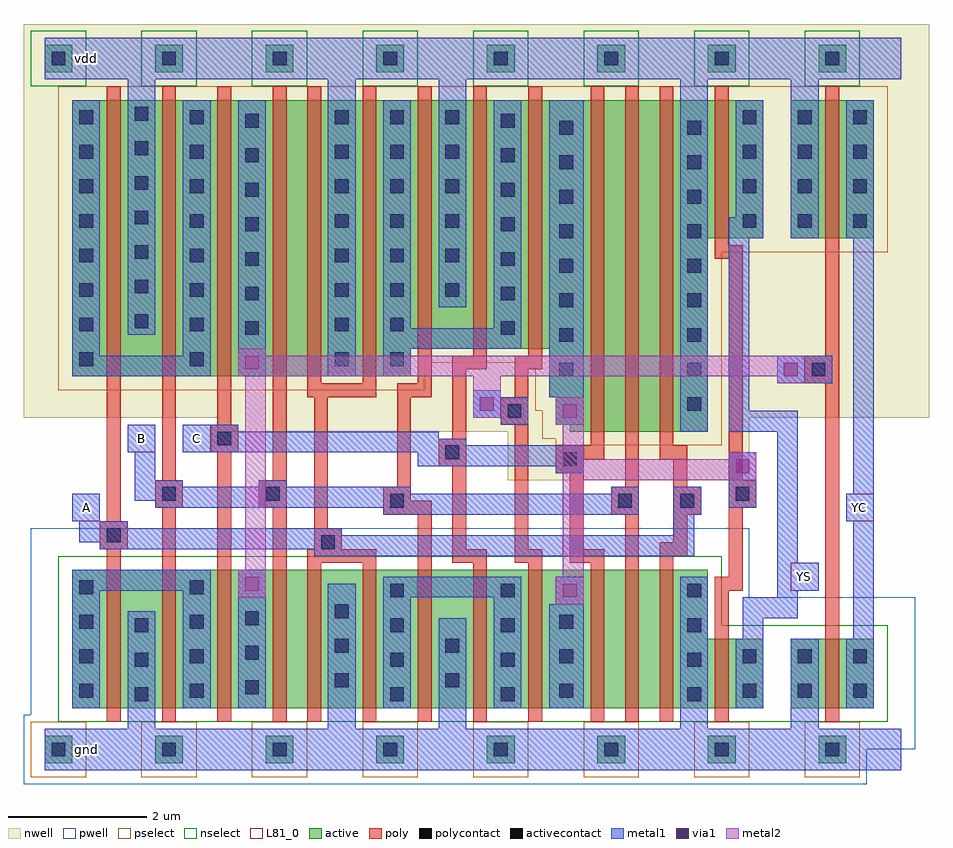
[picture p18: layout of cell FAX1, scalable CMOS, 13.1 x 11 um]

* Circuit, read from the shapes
.subckt FAX1 A B C YC YS gnd vdd
M1 gnd A n1 gnd nfet w=2u l=0.2u
M2 n1 B gnd gnd nfet w=2u l=0.2u
M3 n2 C n1 gnd nfet w=2u l=0.2u
M4 n3 B n2 gnd nfet w=2u l=0.2u
M5 gnd A n3 gnd nfet w=2u l=0.2u
M6 n4 A gnd gnd nfet w=2u l=0.2u
M7 gnd B n4 gnd nfet w=2u l=0.2u
M8 n4 C gnd gnd nfet w=2u l=0.2u
M9 n5 n2 n4 gnd nfet w=2u l=0.2u
M10 n6 C n5 gnd nfet w=2u l=0.2u
M11 n7 B n6 gnd nfet w=2u l=0.2u
M12 gnd A n7 gnd nfet w=2u l=0.2u
M13 YS n5 gnd gnd nfet w=1u l=0.2u
M14 YC n2 gnd gnd nfet w=1u l=0.2u
M15 vdd A n8 vdd pfet w=4u l=0.2u
M16 n8 B vdd vdd pfet w=4u l=0.2u
M17 n2 C n8 vdd pfet w=4u l=0.2u
M18 n9 B n2 vdd pfet w=4u l=0.2u
M19 vdd A n9 vdd pfet w=4u l=0.2u
M20 n10 A vdd vdd pfet w=4u l=0.2u
M21 vdd B n10 vdd pfet w=3.6u l=0.2u
M22 n10 C vdd vdd pfet w=3.6u l=0.2u
M23 n5 n2 n10 vdd pfet w=3.6u l=0.2u
M24 n11 C n5 vdd pfet w=4.8u l=0.2u
M25 n12 B n11 vdd pfet w=4.8u l=0.2u
M26 vdd A n12 vdd pfet w=4.8u l=0.2u
M27 YS n5 vdd vdd pfet w=2u l=0.2u
M28 YC n2 vdd vdd pfet w=2u l=0.2u
.ends

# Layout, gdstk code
import gdstk
lib = gdstk.Library(unit=1e-6, precision=1e-09)
def R(c, l, rs):  # rectangles x0, y0, x1, y1
    for r in rs: c.add(gdstk.rectangle(r[:2], r[2:], *l))
def A(c, l, x, y, w, h, nx, ny, dx, dy):  # array of equal rectangles
    R(c, l, [(x+i*dx, y+j*dy, x+i*dx+w, y+j*dy+h) for i in range(nx) for j in range(ny)])
pwell = (41, 0)
nwell = (42, 0)
active = (43, 0)
pselect = (44, 0)
nselect = (45, 0)
poly = (46, 0)
polycontact = (47, 0)
activecontact = (48, 0)
metal1 = (49, 0)
via1 = (50, 0)
metal2 = (51, 0)
L81_0 = (81, 0)

fax1 = lib.new_cell('FAX1')
R(fax1, pwell, [(-0.5,-0.5,11.7,0), (-0.5,0,12.4,0.5), (-0.4,0.5,12.4,2.2), (-0.4,2.2,10,3.2)])
R(fax1, nwell, [(6.5,3.9,10,4.6), (2.3,4.6,10,4.8), (-0.5,4.8,12.6,10.5)])
A(fax1, active, -0.2, -0.2, 0.4, 0.4, 8, 2, 1.6, 10)
R(fax1, active, [(0.2,0.6,10.2,1.6), (10.6,0.6,11.8,1.6), (0.2,1.6,9.4,2.6), (7.4,4.6,9.4,4.7), (7.2,4.7,9.4,5.1), (7.1,5.1,9.4,5.8), (0.2,5.4,5.1,5.8), (0.2,5.8,9.4,7.4), (0.2,7.4,10.2,9.4), (10.6,7.4,11.8,9.4)])
A(fax1, pselect, -0.4, -0.4, 0.8, 0.8, 8, 1, 1.6, 0)
R(fax1, pselect, [(7.2,4.4,9.6,4.5), (7,4.5,9.6,4.9), (6.9,4.9,9.6,5.6), (0,5.2,5.3,5.6), (0,5.6,9.6,7.2), (0,7.2,12,9.6)])
A(fax1, nselect, -0.4, 9.6, 0.8, 0.8, 8, 1, 1.6, 0)
R(fax1, nselect, [(0,0.4,12,1.8), (0,1.8,9.6,2.8)])
A(fax1, poly, 3.6, 5.3, 0.2, 4.3, 3, 1, 0.8, 0)
R(fax1, poly, [(0.7,0.4,0.9,2.9), (1.5,0.4,1.7,3.5), (2.3,0.4,2.5,4.3), (3.1,0.4,3.3,3.5), (3.6,0.4,3.8,2.7), (4.4,0.4,4.6,2.7), (5.2,0.4,5.4,3.4), (6,0.4,6.2,2.7), (6.8,0.4,7,2.7), (7.7,0.4,7.9,2.7), (8.2,0.4,8.4,3.4), (8.7,0.4,8.9,2.8), (9.5,0.4,9.7,2.3), (11.1,0.4,11.3,5.3), (9.5,2.3,9.9,2.5), (9.7,2.5,9.9,3.5), (3.6,2.7,4.6,2.9), (5.7,2.7,6.2,2.9), (6.6,2.7,7,2.9), (7.4,2.7,7.9,2.9), (8.7,2.8,9.1,3), (0.6,2.9,1,3.3), (3.7,2.9,4.1,3.2), (5.7,2.9,5.9,4.1), (6.6,2.9,6.8,4.7), (7.4,2.9,7.6,4), (8.9,3,9.1,3.4), (3.7,3.2,3.9,5.1), (0.7,3.3,0.9,9.6), (4.7,3.4,5.4,3.6), (8,3.4,8.4,3.8), (8.9,3.4,9.3,3.8), (1.4,3.5,1.8,3.9), (2.9,3.5,3.3,3.9), (9.7,3.5,10.1,3.9), (4.7,3.6,5.1,3.8), (4.9,3.8,5.1,5.1), (8.2,3.8,8.4,9.6), (8.9,3.8,9.1,4.2), (1.5,3.9,1.7,9.6), (3.1,3.9,3.3,9.6), (9.7,3.9,9.9,7.1), (7.2,4,7.6,4.2), (5.5,4.1,5.9,4.5), (7.2,4.2,7.9,4.4), (8.7,4.2,9.1,4.4), (2.2,4.3,2.6,4.7), (7.7,4.4,7.9,9.6), (8.7,4.4,8.9,9.6), (5.7,4.5,5.9,5.5), (2.3,4.7,2.5,9.6), (6.4,4.7,6.8,5.1), (3.6,5.1,4.6,5.3), (4.9,5.1,5.4,5.3), (6.6,5.1,6.8,5.5), (10.8,5.3,11.3,5.7), (5.7,5.5,6.2,5.7), (6.6,5.5,7,5.7), (6,5.7,6.2,9.6), (6.8,5.7,7,9.6), (11.1,5.7,11.3,9.6), (9.5,7.1,9.9,7.3), (9.5,7.3,9.7,9.6)])
R(fax1, polycontact, [(3.8,2.9,4,3.1), (0.7,3,0.9,3.2), (4.8,3.5,5,3.7), (8.1,3.5,8.3,3.7), (9,3.5,9.2,3.7), (1.5,3.6,1.7,3.8), (3,3.6,3.2,3.8), (9.8,3.6,10,3.8), (7.3,4.1,7.5,4.3), (5.6,4.2,5.8,4.4), (2.3,4.4,2.5,4.6), (6.5,4.8,6.7,5), (10.9,5.4,11.1,5.6)])
A(fax1, activecontact, -0.1, -0.1, 0.2, 0.2, 8, 2, 1.6, 10)
A(fax1, activecontact, 1.1, 0.7, 0.2, 0.2, 1, 3, 0, 0.5)
A(fax1, activecontact, 4.8, 0.7, 0.2, 0.2, 1, 4, 0, 0.5)
A(fax1, activecontact, 6.4, 0.7, 0.2, 0.2, 1, 4, 0, 0.5)
A(fax1, activecontact, 9.1, 0.7, 0.2, 0.2, 1, 4, 0, 0.5)
A(fax1, activecontact, 0.3, 0.75, 0.2, 0.2, 1, 4, 0, 0.5)
A(fax1, activecontact, 1.9, 0.75, 0.2, 0.2, 1, 4, 0, 0.5)
A(fax1, activecontact, 7.25, 0.75, 0.2, 0.2, 1, 3, 0, 0.5)
A(fax1, activecontact, 9.9, 0.75, 0.2, 0.2, 3, 2, 0.8, 0.5)
A(fax1, activecontact, 2.7, 0.8, 0.2, 0.2, 1, 3, 0, 0.5)
A(fax1, activecontact, 4, 0.9, 0.2, 0.2, 1, 3, 0, 0.5)
A(fax1, activecontact, 9.1, 4.9, 0.2, 0.2, 1, 9, 0, 0.5)
A(fax1, activecontact, 7.25, 5.4, 0.2, 0.2, 1, 8, 0, 0.5)
A(fax1, activecontact, 0.3, 5.55, 0.2, 0.2, 1, 8, 0, 0.5)
A(fax1, activecontact, 1.9, 5.55, 0.2, 0.2, 1, 8, 0, 0.5)
A(fax1, activecontact, 2.7, 6, 0.2, 0.2, 1, 7, 0, 0.5)
A(fax1, activecontact, 6.4, 6, 0.2, 0.2, 1, 7, 0, 0.5)
A(fax1, activecontact, 1.1, 6.1, 0.2, 0.2, 1, 7, 0, 0.5)
A(fax1, activecontact, 4, 6.55, 0.2, 0.2, 3, 6, 0.8, 0.5)
A(fax1, activecontact, 9.9, 7.55, 0.2, 0.2, 3, 4, 0.8, 0.5)
R(fax1, activecontact, [(5.6,0.9,5.8,1.1), (5.6,1.4,5.8,1.6), (4,5.55,4.2,5.75), (4.8,5.55,5,5.75), (4,6.05,4.2,6.25), (4.8,6.05,5,6.25)])
R(fax1, metal1, [(-0.2,-0.3,12.2,0.3), (1,0.3,1.4,2), (3.9,0.3,4.3,2.4), (5.5,0.3,5.9,1.9), (9,0.3,9.4,2.5), (10.6,0.3,11,1.6), (0.2,0.6,0.6,2.3), (1.8,0.6,2.2,2.3), (2.6,0.6,3,2.6), (4.7,0.6,5.1,2.2), (6.3,0.6,6.7,2.2), (7.1,0.6,7.6,2.1), (9.8,0.6,10.2,1.6), (11.4,0.6,11.8,1.6), (9.9,1.6,10.2,1.9), (11.5,1.6,11.8,3.3), (9.9,1.9,10.7,2.2), (7.2,2.1,7.6,2.5), (4.7,2.2,6.7,2.5), (10.4,2.2,10.7,2.3), (0.2,2.3,2.2,2.6), (10.4,2.3,11,2.7), (10.4,2.7,10.7,4.6), (3.7,2.8,9.2,2.9), (0.6,2.9,9.2,3), (0.3,3,9.2,3.1), (0.3,3.1,4.1,3.2), (8.9,3.1,9.2,3.4), (0.3,3.2,1,3.3), (0.2,3.3,0.6,3.7), (11.4,3.3,11.8,3.7), (4.7,3.4,8.4,3.5), (8.9,3.4,9.3,3.8), (1.4,3.5,8.4,3.6), (9.7,3.5,10.1,4.3), (1.1,3.6,8.4,3.7), (1.1,3.7,5.1,3.8), (8,3.7,8.4,3.8), (11.5,3.7,11.8,7.4), (1.1,3.8,1.8,3.9), (2.9,3.8,3.3,3.9), (1.1,3.9,1.4,4.3), (7.2,4,7.6,4.1), (5.2,4.1,7.6,4.3), (1,4.3,1.4,4.7), (1.8,4.3,7.6,4.4), (1.8,4.4,5.9,4.5), (1.8,4.5,5.5,4.6), (1.8,4.6,2.6,4.7), (9,4.6,9.4,9.7), (9.7,4.6,10.7,4.9), (6.4,4.7,6.8,4.8), (7.2,4.7,7.6,5.1), (6,4.8,6.8,5.1), (9.7,4.9,10,7.4), (6,5.1,6.4,5.2), (7.1,5.1,7.6,9.4), (10.4,5.3,11.2,5.7), (0.2,5.4,2.2,5.7), (2.6,5.4,3,9.4), (3.9,5.4,4.3,9.7), (4.7,5.4,5.1,5.8), (0.2,5.7,0.6,9.4), (1.8,5.7,2.2,9.4), (4.7,5.8,6.7,6.1), (1,6,1.4,9.7), (4.7,6.1,5.1,9.4), (6.3,6.1,6.7,9.4), (5.5,6.4,5.9,9.7), (9.7,7.4,10.2,7.7), (10.6,7.4,11,9.7), (11.4,7.4,11.8,9.4), (9.8,7.7,10.2,9.4), (-0.2,9.7,12.2,10.3)])
R(fax1, via1, [(7.3,2.2,7.5,2.4), (2.7,2.3,2.9,2.5), (9.8,4,10,4.2), (7.3,4.8,7.5,5), (6.1,4.9,6.3,5.1), (10.5,5.4,10.7,5.6), (2.7,5.5,2.9,5.7)])
R(fax1, metal2, [(7.2,2.1,7.6,2.5), (2.6,2.2,3,2.6), (7.3,2.5,7.6,3.9), (2.7,2.6,3,5.4), (7.3,3.9,10.1,4.2), (7.3,4.2,7.6,4.7), (9.7,4.2,10.1,4.3), (7.2,4.7,7.6,5.1), (6,4.8,6.4,5.4), (10.4,5.3,10.8,5.4), (2.6,5.4,10.8,5.7), (2.6,5.7,3,5.8)])
R(fax1, L81_0, [(10.6,2.3,11,2.7), (0.2,3.3,0.6,3.7), (11.4,3.3,11.8,3.7), (1,4.3,1.4,4.7), (1.8,4.3,2.2,4.7)])
fax1.add(gdstk.Label('gnd', (0.4,0), layer=49, texttype=0))
fax1.add(gdstk.Label('vdd', (0.4,10), layer=49, texttype=0))
fax1.add(gdstk.Label('A', (0.4,3.5), layer=49, texttype=0))
fax1.add(gdstk.Label('B', (1.2,4.5), layer=49, texttype=0))
fax1.add(gdstk.Label('C', (2,4.5), layer=49, texttype=0))
fax1.add(gdstk.Label('YC', (11.6,3.5), layer=49, texttype=0))
fax1.add(gdstk.Label('YS', (10.8,2.5), layer=49, texttype=0))

lib.write_gds('FAX1.gds')
